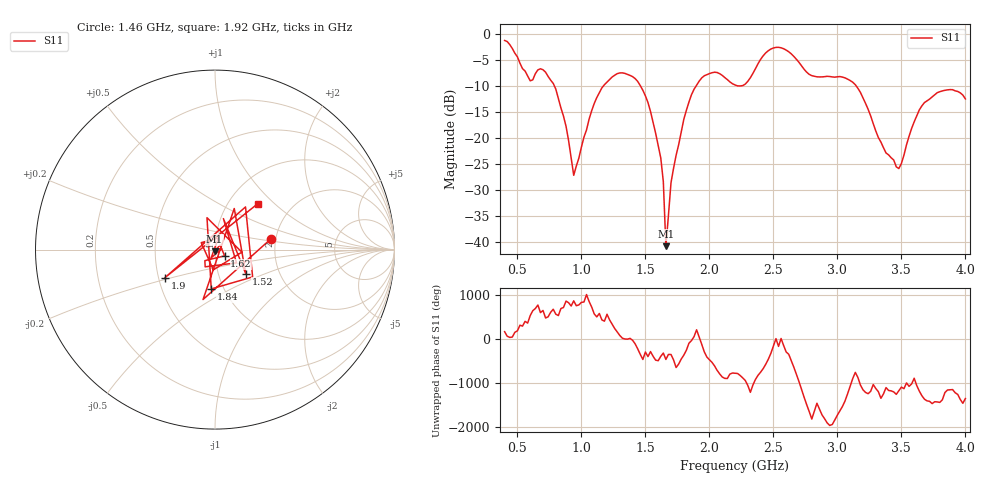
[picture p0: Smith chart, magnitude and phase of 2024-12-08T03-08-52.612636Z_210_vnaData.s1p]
!Created with skrf (http://scikit-rf.org).
# Hz S RI R 50.0
!freq ReS11 ImS11
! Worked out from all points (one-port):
!   181 points, 400 MHz to 4 GHz, reference 50 ohm
!   lowest |S11| = -40.8 dB at 1.66 GHz (marker M1), VSWR 1.02, Z = 49.8 - j0.881 ohm
!   |S11| at or under -10 dB: 788.1 MHz to 1.173 GHz (385.2 MHz wide, 39.3 % of centre); 1.461 GHz to 1.897 GHz (436.8 MHz wide, 26 % of centre); 3.146 GHz to end of sweep (the widest 3 of 4)
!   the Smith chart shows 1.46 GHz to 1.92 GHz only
!   S11 on the Smith chart (normalised r, x): 1.46 GHz: 1.88, +0.25; 1.52 GHz: 1.35, -0.38; 1.62 GHz: 1.11, -0.08; 1.84 GHz: 0.87, -0.40; 1.9 GHz: 0.54, -0.19; 1.92 GHz: 1.36, +0.79
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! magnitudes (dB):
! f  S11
! 400 MHz  -1.3
! 600 MHz  -9.1
! 720 MHz  -7.4
! 860 MHz  -15.8
! 940 MHz  -27.2
! 1.12 GHz  -12.3
! 1.3 GHz  -7.5
! 1.46 GHz  -10.0
! 1.52 GHz  -13.2
! 1.62 GHz  -23.9
! 1.64 GHz  -28.4
! 1.66 GHz  -40.8
! 1.7 GHz  -28.6
! 1.76 GHz  -21.3
! 1.84 GHz  -13.1
! 1.9 GHz  -9.9
! 1.92 GHz  -9.1
! 2.04 GHz  -7.4
! 2.2 GHz  -9.8
! 2.48 GHz  -3.0
! 2.66 GHz  -4.4
! 2.8 GHz  -8.1
! 3.1 GHz  -9.0
! 3.46 GHz  -25.6
! 3.56 GHz  -19.7
! 3.66 GHz  -13.9
! 3.78 GHz  -11.3
! 4 GHz  -12.5
